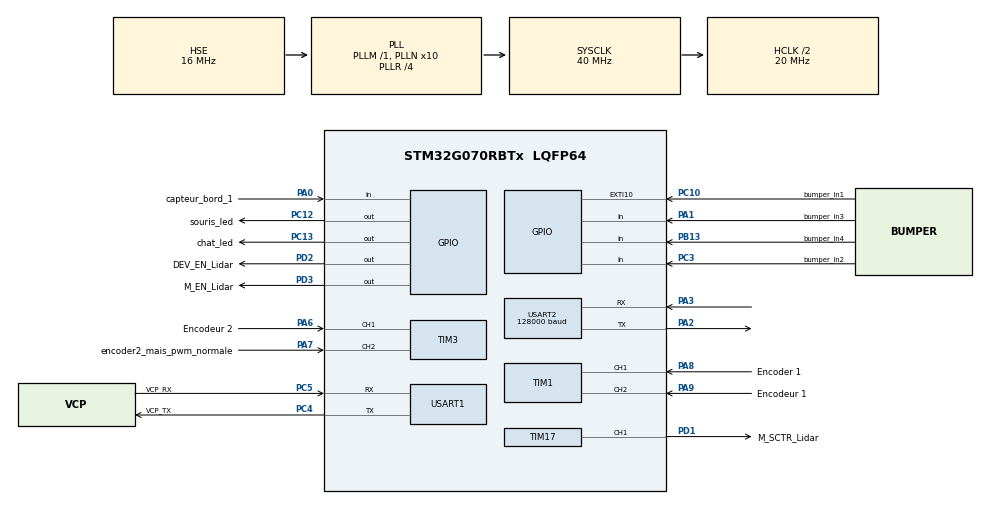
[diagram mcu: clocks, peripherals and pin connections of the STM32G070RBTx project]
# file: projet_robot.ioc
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Dma.Request0=USART2_RX
Dma.USART2_RX.0.Direction=DMA_PERIPH_TO_MEMORY
Dma.USART2_RX.0.EventEnable=DISABLE
Dma.USART2_RX.0.Instance=DMA1_Channel1
Dma.USART2_RX.0.MemDataAlignment=DMA_MDATAALIGN_BYTE
Dma.USART2_RX.0.MemInc=DMA_MINC_ENABLE
Dma.USART2_RX.0.Mode=DMA_CIRCULAR
Dma.USART2_RX.0.PeriphDataAlignment=DMA_PDATAALIGN_BYTE
Dma.USART2_RX.0.PeriphInc=DMA_PINC_DISABLE
Dma.USART2_RX.0.Polarity=HAL_DMAMUX_REQ_GEN_RISING
Dma.USART2_RX.0.Priority=DMA_PRIORITY_LOW
Dma.USART2_RX.0.RequestNumber=1
Dma.USART2_RX.0.SignalID=NONE
Dma.USART2_RX.0.SyncEnable=DISABLE
Dma.USART2_RX.0.SyncPolarity=HAL_DMAMUX_SYNC_NO_EVENT
Dma.USART2_RX.0.SyncRequestNumber=1
Dma.USART2_RX.0.SyncSignalID=NONE
FREERTOS.Tasks01=defaultTask,0,128,StartDefaultTask,Default,NULL,Dynamic,NULL,NULL
Mcu.Family=STM32G0
Mcu.Name=STM32G070RBTx
Mcu.Package=LQFP64
NVIC.DMA1_Channel1_IRQn=true\:3\:0\:false\:false\:true\:true\:false\:true\:true
NVIC.USART2_IRQn=true\:3\:0\:false\:false\:true\:true\:true\:true\:true
PA0.GPIO_Label=capteur_bord_1
PA0.Signal=GPIO_Input
PA1.GPIO_Label=bumper_in3
PA1.Signal=GPIO_Input
PA10.GPIO_Label=Driver1_REV
PA10.Signal=S_TIM1_CH3
PA11\ [PA9].GPIO_Label=Driver1_FWD
PA11\ [PA9].Signal=S_TIM1_CH4
PA13.Mode=Serial_Wire
PA13.Signal=SYS_SWDIO
PA14-BOOT0.Mode=Serial_Wire
PA14-BOOT0.Signal=SYS_SWCLK
PA2.Mode=Asynchronous
PA2.Signal=USART2_TX
PA3.Mode=Asynchronous
PA3.Signal=USART2_RX
PA6.GPIO_Label=Encodeur 2
PA6.Signal=S_TIM3_CH1
PA7.GPIO_Label=encoder2_mais_pwm_normale
PA7.Signal=S_TIM3_CH2
PA8.GPIO_Label=Encoder 1
PA8.Signal=S_TIM1_CH1
PA9.GPIO_Label=Encodeur 1
PA9.Signal=S_TIM1_CH2
PB0.Signal=S_TIM3_CH3
PB1.Signal=S_TIM3_CH4
PB13.GPIO_Label=bumper_in4
PB13.Signal=GPIO_Input
PC10.GPIO_Label=bumper_in1
PC10.Signal=GPXTI10
PC12.GPIO_Label=souris_led
PC12.Signal=GPIO_Output
PC13.GPIO_Label=chat_led
PC13.Signal=GPIO_Output
PC3.GPIO_Label=bumper_in2
PC3.Signal=GPIO_Input
PC4.GPIO_Label=VCP_TX
PC4.Mode=Asynchronous
PC4.Signal=USART1_TX
PC5.GPIO_Label=VCP_RX
PC5.Mode=Asynchronous
PC5.Signal=USART1_RX
PD1.GPIO_Label=M_SCTR_Lidar
PD1.Signal=S_TIM17_CH1
PD2.GPIO_Label=DEV_EN_Lidar
PD2.Signal=GPIO_Output
PD3.GPIO_Label=M_EN_Lidar
PD3.Signal=GPIO_Output
PF0-OSC_IN\ (PF0).Mode=HSE-External-Oscillator
PF0-OSC_IN\ (PF0).Signal=RCC_OSC_IN
PF1-OSC_OUT\ (PF1).Mode=HSE-External-Oscillator
PF1-OSC_OUT\ (PF1).Signal=RCC_OSC_OUT
ProjectManager.HeapSize=0x200
ProjectManager.StackSize=0x400
ProjectManager.TargetToolchain=STM32CubeIDE
RCC.ADCFreq_Value=40000000
RCC.AHBCLKDivider=RCC_SYSCLK_DIV2
RCC.AHBFreq_Value=20000000
RCC.CortexFreq_Value=20000000
RCC.EXTERNAL_CLOCK_VALUE=48000
RCC.HCLKFreq_Value=20000000
RCC.HSE_VALUE=16000000
RCC.HSI_VALUE=16000000
RCC.LSE_VALUE=32768
RCC.PLLN=10
RCC.PLLR=RCC_PLLR_DIV4
RCC.PLLSourceVirtual=RCC_PLLSOURCE_HSE
RCC.SYSCLKFreq_VALUE=40000000
RCC.SYSCLKSource=RCC_SYSCLKSOURCE_PLLCLK
RCC.VCOOutputFreq_Value=160000000
SH.S_TIM17_CH1.0=TIM17_CH1,PWM Generation1 CH1
SH.S_TIM1_CH1.0=TIM1_CH1,Encoder_Interface
SH.S_TIM1_CH2.0=TIM1_CH2,Encoder_Interface
SH.S_TIM1_CH3.0=TIM1_CH3
SH.S_TIM1_CH4.0=TIM1_CH4
SH.S_TIM3_CH1.0=TIM3_CH1,Encoder_Interface
SH.S_TIM3_CH2.0=TIM3_CH2,Encoder_Interface
SH.S_TIM3_CH3.0=TIM3_CH3
SH.S_TIM3_CH4.0=TIM3_CH4
TIM17.Channel=TIM_CHANNEL_1
TIM17.Period=999
USART1.SwapParam=ADVFEATURE_SWAP_ENABLE
USART1.VirtualMode-Asynchronous=VM_ASYNC
USART2.BaudRate=128000
USART2.SwapParam=ADVFEATURE_SWAP_ENABLE
USART2.VirtualMode-Asynchronous=VM_ASYNC
VP_FREERTOS_VS_CMSIS_V1.Mode=CMSIS_V1
VP_TIM17_VS_ClockSourceINT.Mode=Enable_Timer
board=custom

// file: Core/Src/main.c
/* USER CODE BEGIN Header */
/**
 ******************************************************************************
 * @file           : main.c
 * @brief          : Main program body
 ******************************************************************************
 * @attention
 *
 * Copyright (c) 2024 STMicroelectronics.
 * All rights reserved.
 *
 * This software is licensed under terms that can be found in the LICENSE file
 * in the root directory of this software component.
 * If no LICENSE file comes with this software, it is provided AS-IS.
 *
 ******************************************************************************
 */
/* USER CODE END Header */
#include "main.h"
#include "cmsis_os.h"
#include "dma.h"
#include "tim.h"
#include "usart.h"
#include "gpio.h"

/* USER CODE BEGIN Includes */
#include <stdio.h>
#include "lidar.h"
/* USER CODE END Includes */

/* USER CODE BEGIN PD */
#define STACK_DEPTH 256
//#define SIZE_BUFFER_LIDAR 40
/* USER CODE END PD */

/* USER CODE BEGIN PV */

extern DMA_HandleTypeDef hdma_usart2_rx;
//extern uint8_t buffer_lidar[SIZE_BUFFER_LIDAR];
extern SemaphoreHandle_t sem_Lidar_half_cplt;
extern SemaphoreHandle_t sem_Lidar_cplt;

TaskHandle_t xHandleLidar = NULL;
TaskHandle_t xHandleResetLidar = NULL;
int a=0;

/* USER CODE END PV */

void SystemClock_Config(void);
void MX_FREERTOS_Init(void);

/* USER CODE BEGIN 0 */
//void HAL_UART_RxHalfCpltCallback(UART_HandleTypeDef *huart)
//{
//	printf("h\r\n");
//	a++;
//}
//
//void HAL_UART_RxCpltCallback(UART_HandleTypeDef *huart)
//{
//	a++;
//
//}

/* USER CODE END 0 */

int main(void)
{
	/* USER CODE BEGIN 1 */
	//Attention sur carte nucleo, UART1 -> Lidar et UART2 ->Debug

	BaseType_t retLidarDataRecup;

	sem_Lidar_half_cplt = xSemaphoreCreateBinary(); //IMPORTANT!!!!!
	sem_Lidar_cplt = xSemaphoreCreateBinary();

	/* USER CODE END 1 */

	/* MCU Configuration--------------------------------------------------------*/

	/* Reset of all peripherals, Initializes the Flash interface and the Systick. */
	HAL_Init();

	/* Configure the system clock */
	SystemClock_Config();

	/* Initialize all configured peripherals */
	MX_GPIO_Init();
	MX_DMA_Init();
	MX_TIM17_Init();
	MX_TIM1_Init();
	MX_TIM3_Init();
	MX_USART2_UART_Init();
	MX_USART1_UART_Init();
	/* USER CODE BEGIN 2 */
	//TIM17->CCR1=850; PWM LIDAR
	HAL_TIM_PWM_Start(&htim17, TIM_CHANNEL_1);

	retLidarDataRecup = xTaskCreate(lidarDataRecup,"",STACK_DEPTH,NULL,3,&xHandleLidar);
	if (retLidarDataRecup==pdPASS){
		printf("****LIDAR****\r\n");
	}

	vTaskStartScheduler();
	/* USER CODE END 2 */

	/* Call init function for freertos objects (in freertos.c) */
	MX_FREERTOS_Init();

	/* Start scheduler */
	osKernelStart();

	/* We should never get here as control is now taken by the scheduler */
	/* Infinite loop */
	while (1)
	{

	}
}

void SystemClock_Config(void)
{
	RCC_OscInitTypeDef RCC_OscInitStruct = {0};
	RCC_ClkInitTypeDef RCC_ClkInitStruct = {0};

	/** Configure the main internal regulator output voltage
	 */
	HAL_PWREx_ControlVoltageScaling(PWR_REGULATOR_VOLTAGE_SCALE1);

	/** Initializes the RCC Oscillators according to the specified parameters
	 * in the RCC_OscInitTypeDef structure.
	 */
	RCC_OscInitStruct.OscillatorType = RCC_OSCILLATORTYPE_HSE;
	RCC_OscInitStruct.HSEState = RCC_HSE_ON;
	RCC_OscInitStruct.PLL.PLLState = RCC_PLL_ON;
	RCC_OscInitStruct.PLL.PLLSource = RCC_PLLSOURCE_HSE;
	RCC_OscInitStruct.PLL.PLLM = RCC_PLLM_DIV1;
	RCC_OscInitStruct.PLL.PLLN = 10;
	RCC_OscInitStruct.PLL.PLLP = RCC_PLLP_DIV2;
	RCC_OscInitStruct.PLL.PLLR = RCC_PLLR_DIV4;
	if (HAL_RCC_OscConfig(&RCC_OscInitStruct) != HAL_OK)
	{
		Error_Handler();
	}

	/** Initializes the CPU, AHB and APB buses clocks
	 */
	RCC_ClkInitStruct.ClockType = RCC_CLOCKTYPE_HCLK|RCC_CLOCKTYPE_SYSCLK
			|RCC_CLOCKTYPE_PCLK1;
	RCC_ClkInitStruct.SYSCLKSource = RCC_SYSCLKSOURCE_PLLCLK;
	RCC_ClkInitStruct.AHBCLKDivider = RCC_SYSCLK_DIV2;
	RCC_ClkInitStruct.APB1CLKDivider = RCC_HCLK_DIV1;

	if (HAL_RCC_ClockConfig(&RCC_ClkInitStruct, FLASH_LATENCY_0) != HAL_OK)
	{
		Error_Handler();
	}
}

void Error_Handler(void)
{
	__disable_irq();
	while (1)
	{
	}
}
